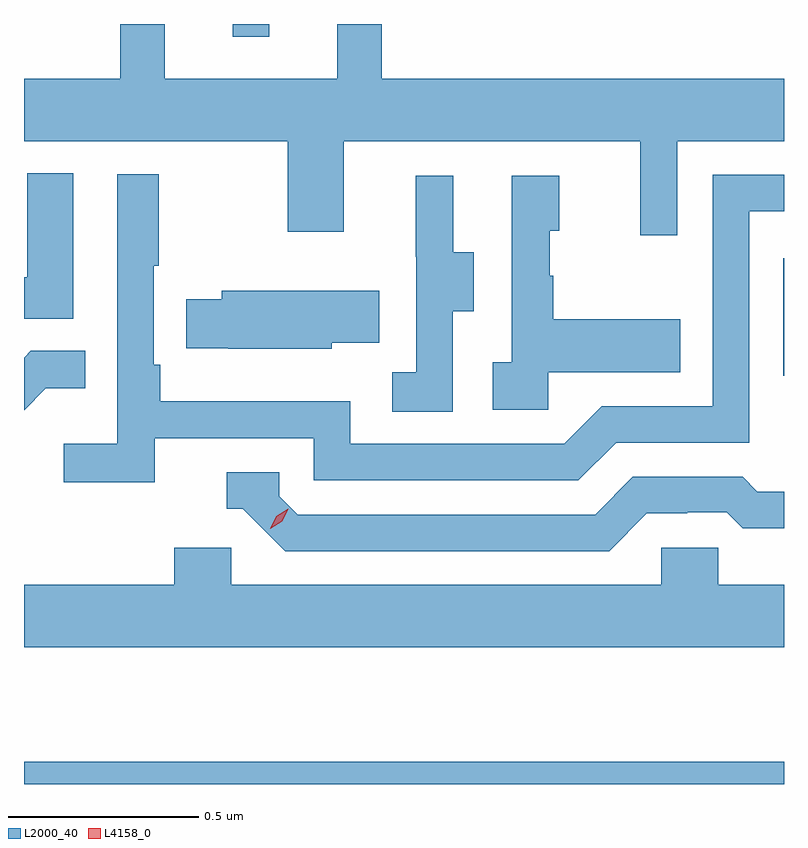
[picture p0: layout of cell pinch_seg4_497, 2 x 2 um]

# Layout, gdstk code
import gdstk
lib = gdstk.Library(unit=1e-6, precision=1e-09)
def R(c, l, rs):  # rectangles x0, y0, x1, y1
    for r in rs: c.add(gdstk.rectangle(r[:2], r[2:], *l))
def P(c, l, *ps):  # polygons
    for p in ps: c.add(gdstk.Polygon(p, *l))
L2000_40 = (2000, 40)
L4158_0 = (4158, 0)

pinch_seg4_497 = lib.new_cell('pinch_seg4_497')
R(pinch_seg4_497, L2000_40, [(925.926,751.172,927.926,751.231), (927.924,752.247,927.926,752.556), (926.475,753.138,926.572,753.172)])
P(pinch_seg4_497, L2000_40, [(927.645,752.864),(927.926,752.864),(927.926,753.028),(926.867,753.028),(926.867,753.172),(926.75,753.172),(926.75,753.028),(926.297,753.028),(926.297,753.172),(926.179,753.172),(926.179,753.028),(925.926,753.028),(925.926,752.864),(926.62,752.864),(926.62,752.625),(926.767,752.625),(926.767,752.864),(927.548,752.864),(927.548,752.616),(927.645,752.616)],
  [(926.056,752.779),(925.934,752.779),(925.934,752.506),(925.926,752.506),(925.926,752.397),(926.056,752.397)],
  [(926.27,752.082),(926.688,752.082),(926.688,751.971),(927.385,751.971),(927.484,752.07),(927.834,752.07),(927.834,752.679),(927.926,752.679),(927.926,752.775),(927.738,752.775),(927.738,752.166),(927.447,752.166),(927.348,752.067),(926.784,752.067),(926.784,752.179),(926.285,752.179),(926.285,752.275),(926.268,752.275),(926.268,752.536),(926.281,752.536),(926.281,752.776),(926.172,752.776),(926.172,752.068),(926.031,752.068),(926.031,751.966),(926.27,751.966)],
  [(927.306,752.255),(927.653,752.255),(927.653,752.395),(927.319,752.395),(927.319,752.51),(927.309,752.51),(927.309,752.628),(927.334,752.628),(927.334,752.773),(927.21,752.773),(927.21,752.282),(927.159,752.282),(927.159,752.157),(927.306,752.157)],
  [(927.054,752.416),(927.109,752.416),(927.109,752.571),(927.055,752.571),(927.055,752.773),(926.957,752.773),(926.957,752.559),(926.958,752.559),(926.958,752.255),(926.895,752.255),(926.895,752.152),(927.054,752.152)],
  [(926.736,752.333),(926.861,752.333),(926.861,752.47),(926.447,752.47),(926.447,752.448),(926.353,752.448),(926.353,752.319),(926.464,752.319),(926.464,752.318),(926.736,752.318)],
  [(925.983,752.213),(926.087,752.213),(926.087,752.312),(925.944,752.312),(925.926,752.294),(925.926,752.156)],
  [(927.565,751.884),(927.672,751.884),(927.672,751.887),(927.775,751.887),(927.817,751.845),(927.926,751.845),(927.926,751.941),(927.856,751.941),(927.817,751.98),(927.528,751.98),(927.429,751.881),(926.646,751.881),(926.598,751.929),(926.598,751.992),(926.459,751.992),(926.459,751.896),(926.502,751.896),(926.613,751.785),(927.466,751.785)],
  [(927.926,751.696),(927.753,751.696),(927.753,751.794),(927.603,751.794),(927.603,751.696),(926.472,751.696),(926.472,751.794),(926.321,751.794),(926.321,751.696),(925.926,751.696),(925.926,751.532),(927.926,751.532)])
P(pinch_seg4_497, L4158_0, [(926.574,751.844),(926.574,751.844),(926.59,751.876),(926.621,751.896),(926.622,751.896),(926.622,751.895),(926.605,751.863),(926.574,751.844)])

lib.write_gds('pinch_seg4_497.gds')
